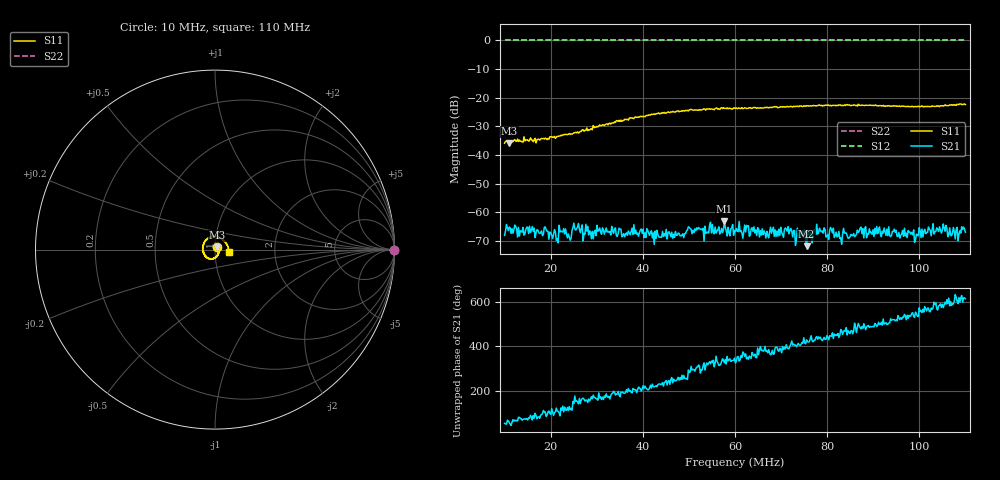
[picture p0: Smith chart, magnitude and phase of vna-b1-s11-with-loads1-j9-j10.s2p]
! Anritsu VNA Master:  Model: MS2034B/10/19/501
! SN:  1337062
! /bd0/ovro-jan-2016/vna-jan/vna-b1-s11-with-loads1-j9-j10.s2p
! Existing Calibration Information:
! TYPE:  Current Settings,  Active Cal Settings
! TIME:  01/13/2016 01:02:04 PM,  01/12/2016 05:57:47 PM
! INTERNAL TEMP:  44.0 C,  46.0 C
! # POINTS:  500,  500
! START FREQ:  10.000 MHz,  10.000 MHz
! STOP FREQ:  110.000 MHz,  110.000 MHz
! SOURCE POWER:  Low,  Low
! IFBW:  100 Hz,  1 kHz
! AVG FACTOR:  1 ,  3
! REF PLANE 1:  0 mm,  0 mm
! REF PLANE 2:  0 mm,  0 mm
! CAL TYPE:  1P2P S11,S21,  1P2P S11,S21
! CAL METHOD:  SOLT,  SOLT
! CAL LINE TYPE:  Coax,  Coax
! DUT PORT 1:  K-Conn(M),  K-Conn(M)
! DUT PORT 2:  N-Conn(M),  N-Conn(M)
! CAL STATUS:  OK: Accuracy High,  --
# GHZ S DB R 50.0
! FREQ.GHZ  S11DB  S11A  S21DB  S21A  S12DB  S12A  S22DB  S22A
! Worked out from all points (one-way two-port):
!   500 points, 10 MHz to 110 MHz, reference 50 ohm
!   highest |S21| = -63.03 dB at 57.7 MHz (marker M1); lowest = -71.8 dB at 75.53 MHz (marker M2)
!   lowest |S11| = -35.9 dB at 11 MHz (marker M3), VSWR 1.03, Z = 51.1 + j1.22 ohm
!   |S11| at or under -10 dB: start of sweep to end of sweep
!   |S22| runs from 0.0 to 0.0 dB; largest |S21 - S12| = 1
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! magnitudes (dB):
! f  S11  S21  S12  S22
! 10 MHz  -35.8  -68.0  0.0  0.0
! 11 MHz  -35.9  -65.1  0.0  0.0
! 19.02 MHz  -34.2  -65.9  0.0  0.0
! 21.22 MHz  -33.7  -69.8  0.0  0.0
! 22.22 MHz  -33.0  -66.6  0.0  0.0
! 24.03 MHz  -32.5  -68.5  0.0  0.0
! 25.03 MHz  -32.2  -63.7  0.0  0.0
! 26.83 MHz  -31.2  -64.3  0.0  0.0
! 43.47 MHz  -25.3  -68.5  0.0  0.0
! 57.7 MHz  -23.7  -63.0  0.0  0.0
! 60.1 MHz  -23.7  -66.8  0.0  0.0
! 62.51 MHz  -23.8  -64.5  0.0  0.0
! 66.91 MHz  -23.3  -66.6  0.0  0.0
! 71.12 MHz  -23.2  -65.8  0.0  0.0
! 75.53 MHz  -22.8  -71.8  0.0  0.0
! 76.73 MHz  -22.9  -70.7  0.0  0.0
! 78.14 MHz  -22.6  -67.1  0.0  0.0
! 93.37 MHz  -22.8  -65.0  0.0  0.0
! 99.38 MHz  -23.1  -67.6  0.0  0.0
! 105.6 MHz  -22.5  -66.6  0.0  0.0
! 106.6 MHz  -22.5  -65.4  0.0  0.0
! 110 MHz  -22.4  -66.9  0.0  0.0
